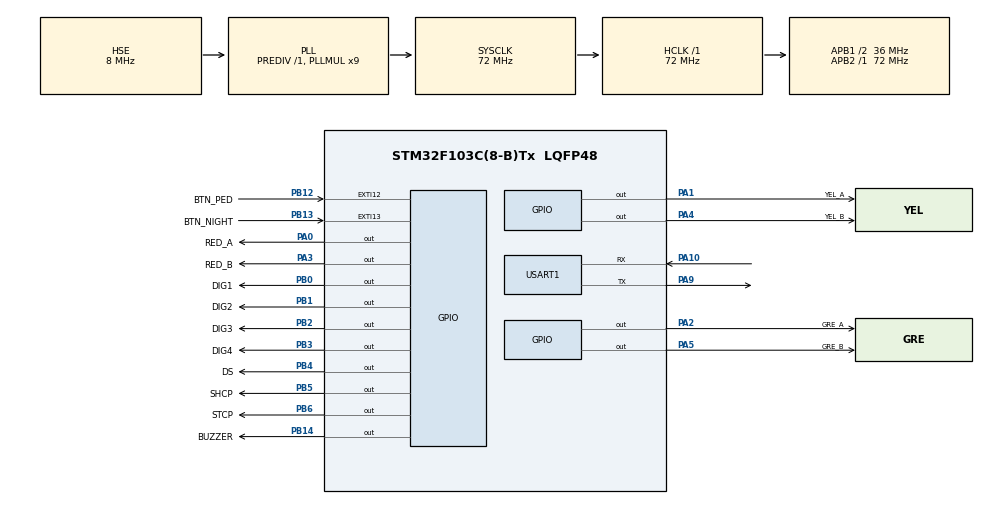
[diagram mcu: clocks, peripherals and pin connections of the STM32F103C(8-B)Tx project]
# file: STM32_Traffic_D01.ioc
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Mcu.Family=STM32F1
Mcu.Name=STM32F103C(8-B)Tx
Mcu.Package=LQFP48
NVIC.EXTI15_10_IRQn=true\:3\:0\:true\:false\:true\:true\:true\:true
NVIC.PriorityGroup=NVIC_PRIORITYGROUP_4
<<<<<<< HEAD
NVIC.TIM2_IRQn=true\:1\:0\:true\:false\:true\:true\:true\:true
NVIC.USART1_IRQn=true\:0\:0\:false\:false\:true\:true\:true\:true
=======
NVIC.TIM2_IRQn=true\:0\:0\:false\:false\:true\:true\:true\:true
>>>>>>> cfe211a (chore: thêm file gitignore và làm sạch các file build rác)
PA0-WKUP.GPIO_Label=RED_A
PA0-WKUP.Signal=GPIO_Output
PA1.GPIO_Label=YEL_A
PA1.Signal=GPIO_Output
PA10.Mode=Asynchronous
PA10.Signal=USART1_RX
PA13.Mode=Serial_Wire
PA13.Signal=SYS_JTMS-SWDIO
PA14.Mode=Serial_Wire
PA14.Signal=SYS_JTCK-SWCLK
PA2.GPIO_Label=GRE_A
PA2.Signal=GPIO_Output
PA3.GPIO_Label=RED_B
PA3.Signal=GPIO_Output
PA4.GPIO_Label=YEL_B
PA4.Signal=GPIO_Output
PA5.GPIO_Label=GRE_B
PA5.Signal=GPIO_Output
PA9.Mode=Asynchronous
PA9.Signal=USART1_TX
PB0.GPIO_Label=DIG1
PB0.PinState=GPIO_PIN_SET
PB0.Signal=GPIO_Output
PB1.GPIO_Label=DIG2
PB1.PinState=GPIO_PIN_SET
PB1.Signal=GPIO_Output
PB12.GPIO_Label=BTN_PED
PB12.GPIO_ModeDefaultEXTI=GPIO_MODE_IT_FALLING
PB12.GPIO_PuPd=GPIO_PULLUP
PB12.Signal=GPXTI12
PB13.GPIO_Label=BTN_NIGHT
PB13.GPIO_ModeDefaultEXTI=GPIO_MODE_IT_FALLING
PB13.GPIO_PuPd=GPIO_PULLUP
PB13.Signal=GPXTI13
PB14.GPIO_Label=BUZZER
PB14.Signal=GPIO_Output
PB2.GPIO_Label=DIG3
PB2.PinState=GPIO_PIN_SET
PB2.Signal=GPIO_Output
PB3.GPIO_Label=DIG4
PB3.PinState=GPIO_PIN_SET
PB3.Signal=GPIO_Output
PB4.GPIO_Label=DS
PB4.Signal=GPIO_Output
PB5.GPIO_Label=SHCP
PB5.Signal=GPIO_Output
PB6.GPIO_Label=STCP
PB6.Signal=GPIO_Output
PD0-OSC_IN.Mode=HSE-External-Oscillator
PD0-OSC_IN.Signal=RCC_OSC_IN
PD1-OSC_OUT.Mode=HSE-External-Oscillator
PD1-OSC_OUT.Signal=RCC_OSC_OUT
ProjectManager.HeapSize=0x200
ProjectManager.StackSize=0x400
ProjectManager.TargetToolchain=STM32CubeIDE
RCC.AHBFreq_Value=72000000
RCC.APB1CLKDivider=RCC_HCLK_DIV2
RCC.APB1Freq_Value=36000000
RCC.APB1TimFreq_Value=72000000
RCC.APB2Freq_Value=72000000
RCC.APB2TimFreq_Value=72000000
RCC.HCLKFreq_Value=72000000
RCC.PLLMUL=RCC_PLL_MUL9
RCC.PLLSourceVirtual=RCC_PLLSOURCE_HSE
RCC.SYSCLKFreq_VALUE=72000000
RCC.SYSCLKSource=RCC_SYSCLKSOURCE_PLLCLK
RCC.USBFreq_Value=72000000
TIM2.AutoReloadPreload=TIM_AUTORELOAD_PRELOAD_ENABLE
TIM2.Period=999
TIM2.Prescaler=71
USART1.VirtualMode=VM_ASYNC
VP_TIM2_VS_ClockSourceINT.Mode=Internal
board=custom

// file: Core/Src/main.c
/* USER CODE BEGIN Header */
/**
  ******************************************************************************
  * @file           : main.c
  * @brief          : Main program body
  ******************************************************************************
  */
/* USER CODE END Header */
#include "main.h"
#include "tim.h"
#include "usart.h"
#include "gpio.h"

/* USER CODE BEGIN Includes */
#include "fsm.h"
#include "led7seg_595.h"
#include "button_exti.h"
#include "uart_app.h"
/* USER CODE END Includes */

void SystemClock_Config(void);

int main(void)
{

  /* MCU Configuration--------------------------------------------------------*/

  /* Reset of all peripherals, Initializes the Flash interface and the Systick. */
  HAL_Init();

  /* Configure the system clock */
  SystemClock_Config();

  /* Initialize all configured peripherals */
  MX_GPIO_Init();
  MX_USART1_UART_Init();
  MX_TIM2_Init();
  /* USER CODE BEGIN 2 */
  led7seg_init();
  FSM_Init();
  Button_Init();
  UART_App_Init();
  led7seg_set_time(timeLaneA, timeLaneB);
  HAL_TIM_Base_Start_IT(&htim2);   /* TIM2 ngat moi 1 ms */
  /* USER CODE END 2 */

  /* Infinite loop */
  while (1)
  {

    /* USER CODE BEGIN 3 */
      UART_Process_Command();
  }
  /* USER CODE END 3 */
}

void SystemClock_Config(void)
{
  RCC_OscInitTypeDef RCC_OscInitStruct = {0};
  RCC_ClkInitTypeDef RCC_ClkInitStruct = {0};

  /** Initializes the RCC Oscillators according to the specified parameters
  * in the RCC_OscInitTypeDef structure.
  */
  RCC_OscInitStruct.OscillatorType = RCC_OSCILLATORTYPE_HSE;
  RCC_OscInitStruct.HSEState = RCC_HSE_ON;
  RCC_OscInitStruct.HSEPredivValue = RCC_HSE_PREDIV_DIV1;
  RCC_OscInitStruct.HSIState = RCC_HSI_ON;
  RCC_OscInitStruct.PLL.PLLState = RCC_PLL_ON;
  RCC_OscInitStruct.PLL.PLLSource = RCC_PLLSOURCE_HSE;
  RCC_OscInitStruct.PLL.PLLMUL = RCC_PLL_MUL9;
  if (HAL_RCC_OscConfig(&RCC_OscInitStruct) != HAL_OK)
  {
    Error_Handler();
  }

  /** Initializes the CPU, AHB and APB buses clocks
  */
  RCC_ClkInitStruct.ClockType = RCC_CLOCKTYPE_HCLK|RCC_CLOCKTYPE_SYSCLK
                              |RCC_CLOCKTYPE_PCLK1|RCC_CLOCKTYPE_PCLK2;
  RCC_ClkInitStruct.SYSCLKSource = RCC_SYSCLKSOURCE_PLLCLK;
  RCC_ClkInitStruct.AHBCLKDivider = RCC_SYSCLK_DIV1;
  RCC_ClkInitStruct.APB1CLKDivider = RCC_HCLK_DIV2;
  RCC_ClkInitStruct.APB2CLKDivider = RCC_HCLK_DIV1;

  if (HAL_RCC_ClockConfig(&RCC_ClkInitStruct, FLASH_LATENCY_2) != HAL_OK)
  {
    Error_Handler();
  }
}

/* USER CODE BEGIN 4 */
/* Ngat TIM2 moi 1 ms: quet LED, loc phim, va chay FSM moi 1 giay */
void HAL_TIM_PeriodElapsedCallback(TIM_HandleTypeDef *htim)
{
  static uint16_t ms = 0;

  if (htim->Instance == TIM2)
  {
    led7seg_scan();
    Button_DebounceTask1ms();

    if (++ms >= 1000U)
    {
      ms = 0;
      FSM_Run_1s();
    }

    if (currentState == STATE_NIGHT_MODE)
    {
      led7seg_enable(0);
    }
    else
    {
      led7seg_enable(1);
      led7seg_set_time(timeLaneA, timeLaneB);
    }
  }
}
/* USER CODE END 4 */

void Error_Handler(void)
{
  __disable_irq();
  while (1)
  {
  }
}
